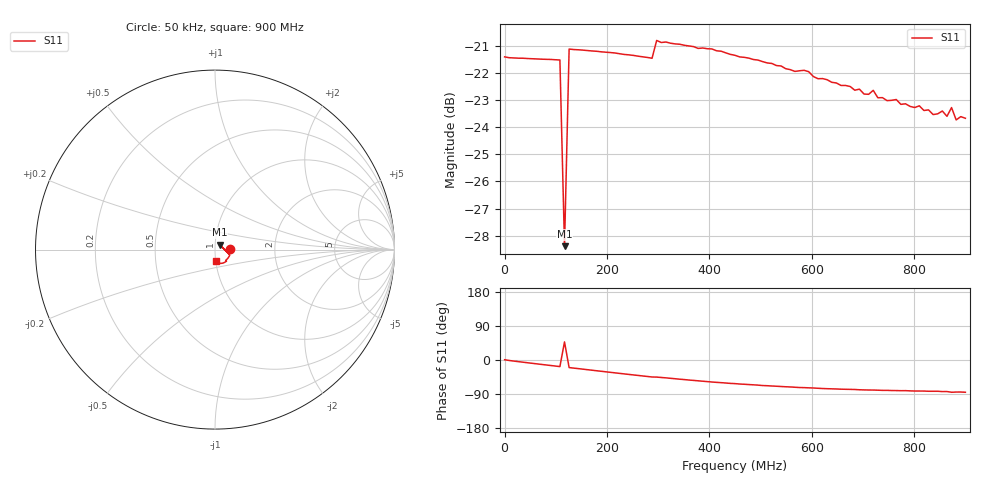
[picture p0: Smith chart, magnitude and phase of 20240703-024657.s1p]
# HZ S RI R 50
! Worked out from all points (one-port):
!   101 points, 50 kHz to 900 MHz, reference 50 ohm
!   lowest |S11| = -28.4 dB at 117 MHz (marker M1), VSWR 1.08, Z = 52.5 + j2.97 ohm
!   |S11| at or under -10 dB: start of sweep to end of sweep
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50000  0.0849 0.00104
1.08044e8  0.08 -0.025
1.170435e8  0.0256 0.0282
1.26043e8  0.0825 -0.03
2.250375e8  0.0702 -0.0498
2.88034e8  0.0599 -0.0595
2.970335e8  0.0643 -0.0645
3.42031e8  0.0568 -0.0693
4.50025e8  0.0397 -0.0757
5.670185e8  0.0248 -0.0759
5.850175e8  0.0236 -0.0767
6.12016e8  0.0206 -0.0747
6.750125e8  0.0162 -0.0732
6.930115e8  0.0147 -0.0726
7.02011e8  0.014 -0.0712
7.2001e8  0.0137 -0.0724
7.290095e8  0.0128 -0.0703
7.650075e8  0.0115 -0.07
7.74007e8  0.0109 -0.0686
7.92006e8  0.0102 -0.0681
8.10005e8  0.00974 -0.0683
8.370035e8  0.00865 -0.066
8.550025e8  0.00785 -0.0671
8.64002e8  0.0078 -0.0656
8.730015e8  0.00582 -0.0683
8.82001e8  0.00616 -0.0647
8.910005e8  0.00634 -0.0656
9e8  0.00555 -0.0653
